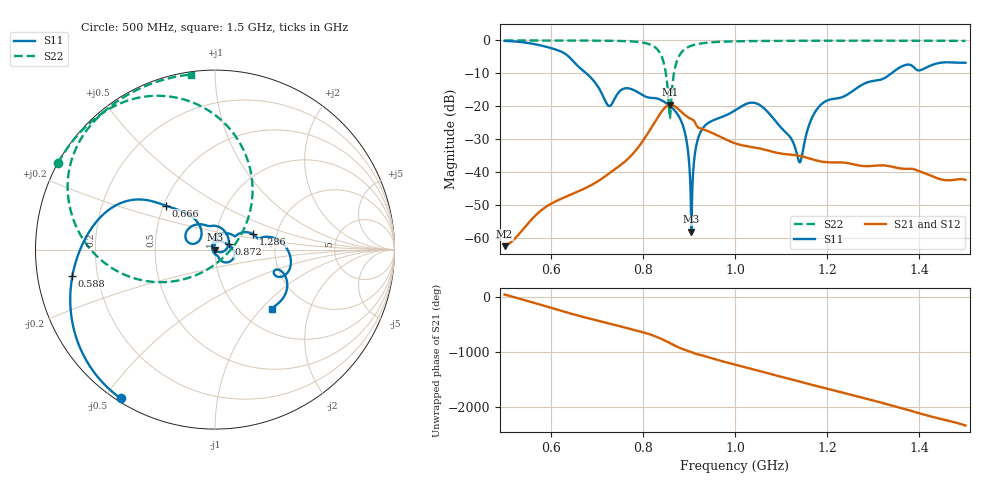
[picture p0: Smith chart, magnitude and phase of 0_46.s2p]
! TOUCHSTONE file generated by CST MICROWAVE STUDIO
! Date and time: Sat Oct 24 11:18:16 2020
! Project name: Scenario_1_Circular_Tissue_in_Line.cst
! Parameters = {L_HA=400; MT=2.54; Rad_Dielectric=30; Rad_Lower=7.3; Rad_Upper=30; a_HA=580; a_WG=246; b_HA=500; b_WG=121; c_HA=0; c_WG=187; d_feed=85; dx1=952.4; h_feed=15; h_lower=18; h_upper=40}
! Header version: 2018
! Port assignment regex: !\s*Touchstone port\s*([0-9]+)\s*=\s*(CST MWS port|CST DS port)\s*([0-9]+|Zmin|Zmax)\s*\(\"(.*)\"\)(\s*mode\s*([0-9]+))?.*
! Touchstone port assignment:
! Touchstone port 1 = CST MWS port 1 ("")
! Touchstone port 2 = CST MWS port 2 ("")
# GHz S DB R 50
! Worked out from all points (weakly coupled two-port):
!   1003 points, 500 MHz to 1.5 GHz, reference 50 ohm
!   highest |S21| = -19.51 dB at 860 MHz (marker M1); lowest = -62.5 dB at 500 MHz (marker M2)
!   lowest |S11| = -58.1 dB at 905 MHz (marker M3), VSWR 1.00, Z = 50.1 - j0.0432 ohm
!   |S11| at or under -10 dB: 677.3 MHz to 1.339 GHz (661.9 MHz wide, 65.7 % of centre)
!   |S22| runs from -23.6 to 0.0 dB; largest |S21 - S12| = 0.0044
!   S11 on the Smith chart (normalised r, x): 500 MHz: 0.01, -0.55; 588 MHz: 0.11, -0.09; 666 MHz: 0.51, +0.29; 872 MHz: 1.16, +0.07; 1.286 GHz: 1.51, +0.27; 1.5 GHz: 1.38, -1.15
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0.5  -0.16 -122.3  -62.48 47.4  -62.48 47.4  -0.01 151.1
0.588  -1.84 -169.4  -50.69 -162.3  -50.74 -162.4  -0.02 145.0
0.636  -4.53 154.6  -47.28 79.6  -47.28 79.6  -0.03 141.2
0.666  -8.66 138.3  -45.45 10.7  -45.44 10.7  -0.04 138.5
0.667  -8.78 138.0  -45.38 8.5  -45.38 8.5  -0.04 138.4
0.726  -19.89 143.9  -40.48 -115.6  -40.49 -115.7  -0.10 131.5
0.762  -14.53 148.0  -36.67 167.5  -36.68 167.5  -0.21 125.1
0.834  -17.77 81.7  -23.02 -14.3  -23.02 -14.3  -3.17 84.6
0.848  -18.78 61.4  -20.39 -68.5  -20.39 -68.5  -8.44 56.5
0.86  -20.04 42.8  -19.51 -121.0  -19.51 -121.0  -21.52 -91.3
0.872  -21.78 21.7  -20.27 -171.0  -20.26 -170.9  -7.13 -157.1
0.892  -28.44 -21.9  -22.72 121.7  -22.73 121.7  -2.54 174.6
0.905  -58.10 -20.2  -23.87 83.6  -24.00 84.0  -1.62 165.3
0.916  -31.87 96.0  -25.73 48.3  -25.13 50.9  -1.18 159.8
0.928  -27.11 74.0  -26.86 24.5  -26.88 23.0  -0.88 155.2
1  -21.26 13.8  -31.24 -143.8  -31.24 -143.8  -0.27 140.3
1.058  -20.04 -45.5  -32.94 88.5  -32.94 88.5  -0.16 133.6
1.14  -37.01 -155.5  -35.04 -91.0  -35.04 -91.0  -0.11 126.4
1.167  -23.52 84.6  -36.08 -151.1  -36.09 -151.0  -0.10 124.2
1.286  -12.80 21.9  -38.19 -44.1  -38.19 -44.1  -0.08 115.1
1.334  -10.56 14.0  -38.16 -153.4  -38.16 -153.4  -0.09 111.5
1.5  -6.77 -46.0  -42.35 -167.9  -42.35 -167.9  -0.14 97.9
